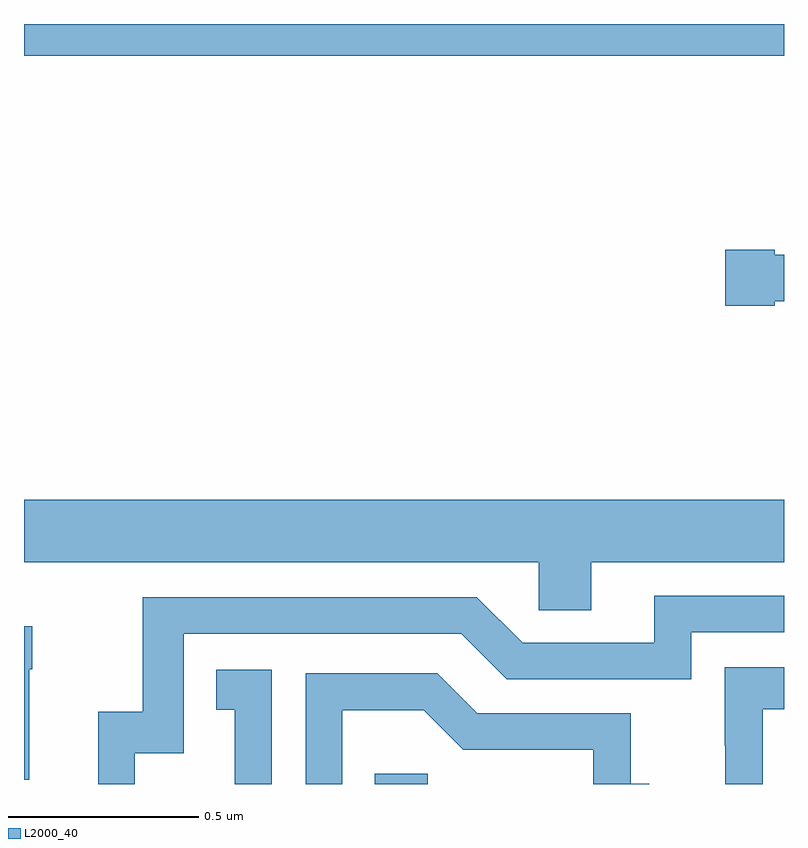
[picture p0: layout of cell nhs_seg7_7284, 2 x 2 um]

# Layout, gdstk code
import gdstk
lib = gdstk.Library(unit=1e-6, precision=1e-09)
def R(c, l, rs):  # rectangles x0, y0, x1, y1
    for r in rs: c.add(gdstk.rectangle(r[:2], r[2:], *l))
def P(c, l, *ps):  # polygons
    for p in ps: c.add(gdstk.Polygon(p, *l))
L2000_40 = (2000, 40)

nhs_seg7_7284 = lib.new_cell('nhs_seg7_7284')
R(nhs_seg7_7284, L2000_40, [(209.923,1032,210.063,1032.027), (209,1033.916,211,1034)])
P(nhs_seg7_7284, L2000_40, [(210.975,1033.271),(211,1033.271),(211,1033.393),(210.975,1033.393),(210.975,1033.406),(210.846,1033.406),(210.846,1033.259),(210.975,1033.259)],
  [(210.493,1032.584),(211,1032.584),(211,1032.748),(209,1032.748),(209,1032.584),(210.354,1032.584),(210.354,1032.457),(210.493,1032.457)],
  [(209.292,1032.081),(209.421,1032.081),(209.421,1032.396),(210.15,1032.396),(210.27,1032.276),(210.756,1032.276),(210.756,1032.399),(211,1032.399),(211,1032.495),(210.659,1032.495),(210.659,1032.372),(210.312,1032.372),(210.192,1032.492),(209.313,1032.492),(209.313,1032.19),(209.195,1032.19),(209.195,1032),(209.292,1032)],
  [(209.014,1032.302),(209.022,1032.302),(209.022,1032.415),(209,1032.415),(209,1032.011),(209.014,1032.011)],
  [(210.944,1032.197),(211,1032.197),(211,1032.307),(210.844,1032.307),(210.844,1032.101),(210.845,1032.101),(210.845,1032),(210.944,1032)],
  [(209.652,1032.301),(209.506,1032.301),(209.506,1032.195),(209.555,1032.195),(209.555,1032),(209.652,1032)],
  [(209.838,1032.194),(210.052,1032.194),(210.156,1032.09),(210.498,1032.09),(210.498,1032),(210.646,1032),(210.646,1032.001),(210.597,1032.001),(210.597,1032.186),(210.193,1032.186),(210.088,1032.291),(209.742,1032.291),(209.742,1032),(209.838,1032)])

lib.write_gds('nhs_seg7_7284.gds')
